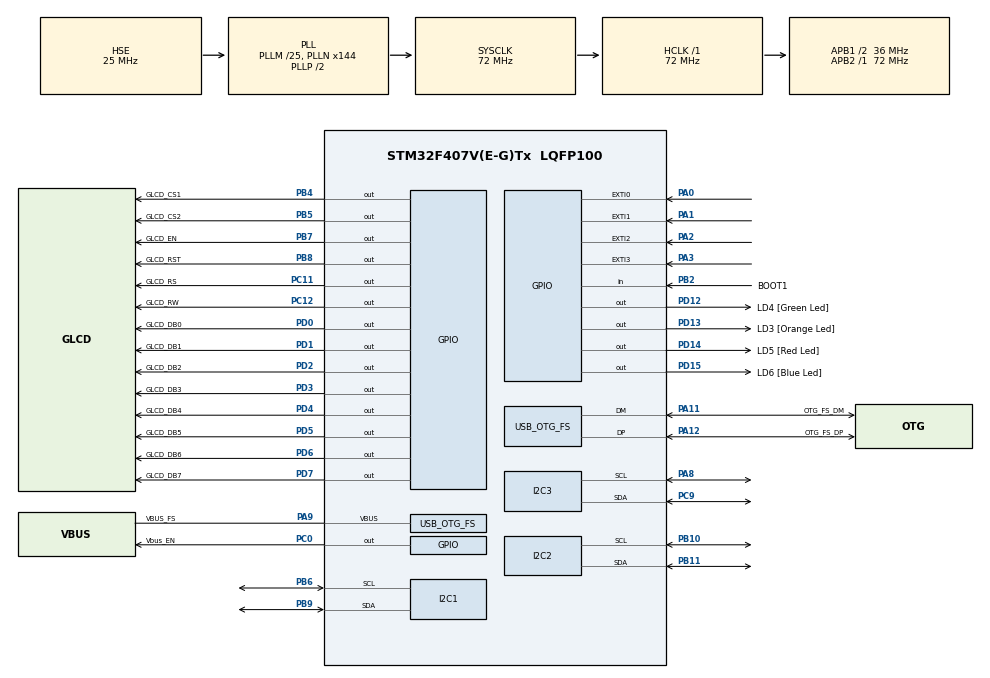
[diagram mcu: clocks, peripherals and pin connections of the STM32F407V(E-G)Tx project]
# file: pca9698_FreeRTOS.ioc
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FREERTOS.INCLUDE_xEventGroupSetBitFromISR=1
FREERTOS.INCLUDE_xQueueGetMutexHolder=0
FREERTOS.INCLUDE_xTaskGetCurrentTaskHandle=1
FREERTOS.Queues01=i2cDataQ,100,PCA9698_data_t,0,Dynamic,NULL,NULL
FREERTOS.Tasks01=defaultTask,24,128,StartDefaultTask,Default,NULL,Dynamic,NULL,NULL;hmi,24,128,HMITask,Default,NULL,Static,glcdDisplayBuffer,glcdDisplayControlBlock;I2CManager,48,256,i2cTask,Default,NULL,Static,I2CManagerBuffer,I2CManagerControlBlock;feeder,24,128,feederTask,Default,NULL,Dynamic,NULL,NULL
I2C1.DutyCycle=I2C_DUTYCYCLE_16_9
I2C1.I2C_Mode=I2C_Fast
I2C2.DutyCycle=I2C_DUTYCYCLE_16_9
I2C2.I2C_Mode=I2C_Fast
I2C3.DutyCycle=I2C_DUTYCYCLE_16_9
I2C3.I2C_Mode=I2C_Fast
Mcu.Family=STM32F4
Mcu.Name=STM32F407V(E-G)Tx
Mcu.Package=LQFP100
Mcu.UserConstants=MAX_SLAVE_COUNT,10;PINS_PER_SLAVE,40
NVIC.EXTI0_IRQn=true\:5\:0\:false\:false\:true\:true\:true\:true
NVIC.EXTI1_IRQn=true\:5\:0\:false\:false\:true\:true\:true\:true
NVIC.EXTI2_IRQn=true\:5\:0\:false\:false\:true\:true\:true\:true
NVIC.EXTI3_IRQn=true\:5\:0\:false\:false\:true\:true\:true\:true
NVIC.I2C1_ER_IRQn=true\:5\:0\:false\:false\:true\:true\:true\:true
NVIC.I2C1_EV_IRQn=true\:5\:0\:false\:false\:true\:true\:true\:true
NVIC.I2C2_ER_IRQn=true\:5\:0\:false\:false\:true\:true\:true\:true
NVIC.I2C2_EV_IRQn=true\:5\:0\:false\:false\:true\:true\:true\:true
NVIC.I2C3_ER_IRQn=true\:5\:0\:false\:false\:true\:true\:true\:true
NVIC.I2C3_EV_IRQn=true\:5\:0\:false\:false\:true\:true\:true\:true
NVIC.OTG_FS_IRQn=true\:5\:0\:false\:false\:true\:true\:true\:true
NVIC.PriorityGroup=NVIC_PRIORITYGROUP_4
NVIC.TIM6_DAC_IRQn=true\:0\:0\:false\:false\:true\:false\:false\:true
NVIC.TimeBase=TIM6_DAC_IRQn
NVIC.TimeBaseIP=TIM6
PA0-WKUP.Signal=GPXTI0
PA1.Signal=GPXTI1
PA11.GPIO_Label=OTG_FS_DM
PA11.GPIO_Mode=GPIO_MODE_AF_PP
PA11.GPIO_PuPd=GPIO_NOPULL
PA11.GPIO_Speed=GPIO_SPEED_FREQ_LOW
PA11.Mode=Host_Only
PA11.Signal=USB_OTG_FS_DM
PA12.GPIO_Label=OTG_FS_DP
PA12.GPIO_Mode=GPIO_MODE_AF_PP
PA12.GPIO_PuPd=GPIO_NOPULL
PA12.GPIO_Speed=GPIO_SPEED_FREQ_LOW
PA12.Mode=Host_Only
PA12.Signal=USB_OTG_FS_DP
PA13.GPIO_Label=SWDIO
PA13.Mode=Trace_Asynchronous_SW
PA13.Signal=SYS_JTMS-SWDIO
PA14.GPIO_Label=SWCLK
PA14.Mode=Trace_Asynchronous_SW
PA14.Signal=SYS_JTCK-SWCLK
PA2.Signal=GPXTI2
PA3.Signal=GPXTI3
PA8.Mode=I2C
PA8.Signal=I2C3_SCL
PA9.GPIO_Label=VBUS_FS
PA9.GPIO_Mode=GPIO_MODE_INPUT
PA9.GPIO_PuPd=GPIO_NOPULL
PA9.Mode=Activate_VBUS
PA9.Signal=USB_OTG_FS_VBUS
PB10.Mode=I2C
PB10.Signal=I2C2_SCL
PB11.Mode=I2C
PB11.Signal=I2C2_SDA
PB2.GPIO_Label=BOOT1
PB2.GPIO_Mode=GPIO_MODE_INPUT
PB2.GPIO_PuPd=GPIO_NOPULL
PB2.Signal=GPIO_Input
PB3.Mode=Trace_Asynchronous_SW
PB3.Signal=SYS_JTDO-SWO
PB4.GPIO_Label=GLCD_CS1
PB4.Signal=GPIO_Output
PB5.GPIO_Label=GLCD_CS2
PB5.Signal=GPIO_Output
PB6.GPIO_Mode=GPIO_MODE_AF_OD
PB6.GPIO_PuPd=GPIO_NOPULL
PB6.GPIO_Speed=GPIO_SPEED_FREQ_VERY_HIGH
PB6.Mode=I2C
PB6.Signal=I2C1_SCL
PB7.GPIO_Label=GLCD_EN
PB7.Signal=GPIO_Output
PB8.GPIO_Label=GLCD_RST
PB8.Signal=GPIO_Output
PB9.GPIO_Mode=GPIO_MODE_AF_OD
PB9.GPIO_PuPd=GPIO_NOPULL
PB9.GPIO_Speed=GPIO_SPEED_FREQ_VERY_HIGH
PB9.Mode=I2C
PB9.Signal=I2C1_SDA
PC0.GPIO_Label=Vbus_EN
PC0.Signal=GPIO_Output
PC11.GPIO_Label=GLCD_RS
PC11.Signal=GPIO_Output
PC12.GPIO_Label=GLCD_RW
PC12.Signal=GPIO_Output
PC14-OSC32_IN.GPIO_Label=PC14-OSC32_IN
PC14-OSC32_IN.Mode=LSE-External-Oscillator
PC14-OSC32_IN.Signal=RCC_OSC32_IN
PC15-OSC32_OUT.GPIO_Label=PC15-OSC32_OUT
PC15-OSC32_OUT.Mode=LSE-External-Oscillator
PC15-OSC32_OUT.Signal=RCC_OSC32_OUT
PC9.Mode=I2C
PC9.Signal=I2C3_SDA
PD0.GPIO_Label=GLCD_DB0
PD0.Signal=GPIO_Output
PD1.GPIO_Label=GLCD_DB1
PD1.Signal=GPIO_Output
PD12.GPIO_Label=LD4 [Green Led]
PD12.GPIO_PuPd=GPIO_NOPULL
PD12.GPIO_Speed=GPIO_SPEED_FREQ_LOW
PD12.Signal=GPIO_Output
PD13.GPIO_Label=LD3 [Orange Led]
PD13.GPIO_PuPd=GPIO_NOPULL
PD13.GPIO_Speed=GPIO_SPEED_FREQ_LOW
PD13.Signal=GPIO_Output
PD14.GPIO_Label=LD5 [Red Led]
PD14.GPIO_PuPd=GPIO_NOPULL
PD14.GPIO_Speed=GPIO_SPEED_FREQ_LOW
PD14.Signal=GPIO_Output
PD15.GPIO_Label=LD6 [Blue Led]
PD15.GPIO_PuPd=GPIO_NOPULL
PD15.GPIO_Speed=GPIO_SPEED_FREQ_LOW
PD15.Signal=GPIO_Output
PD2.GPIO_Label=GLCD_DB2
PD2.Signal=GPIO_Output
PD3.GPIO_Label=GLCD_DB3
PD3.Signal=GPIO_Output
PD4.GPIO_Label=GLCD_DB4
PD4.Signal=GPIO_Output
PD5.GPIO_Label=GLCD_DB5
PD5.Signal=GPIO_Output
PD6.GPIO_Label=GLCD_DB6
PD6.Signal=GPIO_Output
PD7.GPIO_Label=GLCD_DB7
PD7.Signal=GPIO_Output
PH0-OSC_IN.GPIO_Label=PH0-OSC_IN
PH0-OSC_IN.Mode=HSE-External-Oscillator
PH0-OSC_IN.Signal=RCC_OSC_IN
PH1-OSC_OUT.GPIO_Label=PH1-OSC_OUT
PH1-OSC_OUT.Mode=HSE-External-Oscillator
PH1-OSC_OUT.Signal=RCC_OSC_OUT
ProjectManager.HeapSize=0x400
ProjectManager.StackSize=0x800
ProjectManager.TargetToolchain=STM32CubeIDE
RCC.48MHZClocksFreq_Value=48000000
RCC.AHBFreq_Value=72000000
RCC.APB1CLKDivider=RCC_HCLK_DIV2
RCC.APB1Freq_Value=36000000
RCC.APB1TimFreq_Value=72000000
RCC.APB2Freq_Value=72000000
RCC.APB2TimFreq_Value=72000000
RCC.CortexFreq_Value=72000000
RCC.HCLKFreq_Value=72000000
RCC.HSE_VALUE=25000000
RCC.HSI_VALUE=16000000
RCC.PLLM=25
RCC.PLLN=144
RCC.PLLQ=3
RCC.SYSCLKFreq_VALUE=72000000
RCC.SYSCLKSource=RCC_SYSCLKSOURCE_PLLCLK
RCC.VCOOutputFreq_Value=144000000
USB_HOST.BSP.number=1
USB_HOST.USBH_HandleTypeDef-MSC_FS=hUsbHostFS
USB_HOST.VirtualModeFS=Msc
USB_HOST0.BSP.STBoard=false
USB_HOST0.BSP.api=Unknown
USB_HOST0.BSP.i2caddr=0
USB_HOST0.BSP.instance=PC0
USB_HOST0.BSP.ip=GPIO
USB_HOST0.BSP.mode=Output
USB_HOST0.BSP.name=Drive_VBUS_FS
USB_HOST0.BSP.solution=PC0
USB_OTG_FS.VirtualMode=Host_Only
USB_OTG_FS.phy_itface=HCD_PHY_EMBEDDED
VP_FATFS_VS_USB.Mode=USB
VP_FREERTOS_VS_CMSIS_V2.Mode=CMSIS_V2
VP_RNG_VS_RNG.Mode=RNG_Activate
VP_SYS_VS_tim6.Mode=TIM6
VP_USB_HOST_VS_USB_HOST_MSC_FS.Mode=MSC_FS
board=STM32F407G-DISC1

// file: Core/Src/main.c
/* USER CODE BEGIN Header */
/**
  ******************************************************************************
  * @file           : main.c
  * @brief          : Main program body
  ******************************************************************************
  * @attention
  *
  * <h2><center>&copy; Copyright (c) 2021 STMicroelectronics.
  * All rights reserved.</center></h2>
  *
  * This software component is licensed by ST under Ultimate Liberty license
  * SLA0044, the "License"; You may not use this file except in compliance with
  * the License. You may obtain a copy of the License at:
  *                             www.st.com/SLA0044
  *
  ******************************************************************************
  */
/* USER CODE END Header */
#include "main.h"
#include "cmsis_os.h"
#include "fatfs.h"
#include "usb_host.h"

/* USER CODE BEGIN Includes */
#include "pca9698.h"
#include "jhd12864e.h"
/* USER CODE END Includes */

typedef StaticTask_t osStaticThreadDef_t;
/* USER CODE BEGIN PTD */

typedef struct {
	uint16_t pinsRequired;
	uint16_t itersRequired;
} configPacket_t;

typedef enum {
	up_button = 0x00,
	down_button = 0x01,
	select_button = 0x02,
	usb_mount = 0x03,
	usb_unmount = 0x04,
	no_button = 0xFF
} hmi_state;

/* USER CODE END PTD */

I2C_HandleTypeDef hi2c1;
I2C_HandleTypeDef hi2c2;
I2C_HandleTypeDef hi2c3;

RNG_HandleTypeDef hrng;

/* Definitions for defaultTask */
osThreadId_t defaultTaskHandle;
const osThreadAttr_t defaultTask_attributes = {
  .name = "defaultTask",
  .priority = (osPriority_t) osPriorityNormal,
  .stack_size = 128 * 4
};
/* Definitions for hmi */
osThreadId_t hmiHandle;
uint32_t glcdDisplayBuffer[ 128 ];
osStaticThreadDef_t glcdDisplayControlBlock;
const osThreadAttr_t hmi_attributes = {
  .name = "hmi",
  .stack_mem = &glcdDisplayBuffer[0],
  .stack_size = sizeof(glcdDisplayBuffer),
  .cb_mem = &glcdDisplayControlBlock,
  .cb_size = sizeof(glcdDisplayControlBlock),
  .priority = (osPriority_t) osPriorityNormal,
};
/* Definitions for I2CManager */
osThreadId_t I2CManagerHandle;
uint32_t I2CManagerBuffer[ 256 ];
osStaticThreadDef_t I2CManagerControlBlock;
const osThreadAttr_t I2CManager_attributes = {
  .name = "I2CManager",
  .stack_mem = &I2CManagerBuffer[0],
  .stack_size = sizeof(I2CManagerBuffer),
  .cb_mem = &I2CManagerControlBlock,
  .cb_size = sizeof(I2CManagerControlBlock),
  .priority = (osPriority_t) osPriorityRealtime,
};
/* Definitions for feeder */
osThreadId_t feederHandle;
const osThreadAttr_t feeder_attributes = {
  .name = "feeder",
  .priority = (osPriority_t) osPriorityNormal,
  .stack_size = 128 * 4
};
/* Definitions for i2cDataQ */
osMessageQueueId_t i2cDataQHandle;
const osMessageQueueAttr_t i2cDataQ_attributes = {
  .name = "i2cDataQ"
};
/* USER CODE BEGIN PV */
extern PCA9698_t *active_line;	//this handle is updated by I2CMasterTxCmpltCallback
								//so that the the i2cTxCpltDeferred task can work
extern GLCD_t glcd_handle;
SemaphoreHandle_t weftSemphr;
EventGroupHandle_t i2cTxEvent;
QueueHandle_t xMailbox;

hmi_state select_flag=no_button;
int filecount;
uint16_t slave_Adresses_line1[2] = { 0x40, 0x42 };
uint16_t slave_Adresses_line2[2] = { 0x40, 0x42 };
uint16_t slave_Adresses_line3[2] = { 0x40, 0x42 };
/* USER CODE END PV */

void SystemClock_Config(void);
static void MX_GPIO_Init(void);
static void MX_I2C1_Init(void);
static void MX_I2C3_Init(void);
static void MX_RNG_Init(void);
static void MX_I2C2_Init(void);
void StartDefaultTask(void *argument);
void HMITask(void *argument);
void i2cTask(void *argument);
void feederTask(void *argument);

/* USER CODE BEGIN PFP */
//void feederTask(void *argument);
/* USER CODE END PFP */

int main(void)
{

  /* MCU Configuration--------------------------------------------------------*/

  /* Reset of all peripherals, Initializes the Flash interface and the Systick. */
  HAL_Init();

  /* Configure the system clock */
  SystemClock_Config();

  /* Initialize all configured peripherals */
  MX_GPIO_Init();
  MX_I2C1_Init();
  MX_I2C3_Init();
  MX_RNG_Init();
  MX_I2C2_Init();
  MX_FATFS_Init();

  /* Init scheduler */
  osKernelInitialize();

  /* USER CODE BEGIN RTOS_SEMAPHORES */
  /* add semaphores, ... */
  weftSemphr = xSemaphoreCreateBinary();
  /* USER CODE END RTOS_SEMAPHORES */

  /* Create the queue(s) */
  /* creation of i2cDataQ */
  i2cDataQHandle = osMessageQueueNew (100, sizeof(PCA9698_data_t), &i2cDataQ_attributes);

  /* USER CODE BEGIN RTOS_QUEUES */
  /* add queues, ... */
  xMailbox = xQueueCreate(1, sizeof(configPacket_t));
  /* USER CODE END RTOS_QUEUES */

  /* Create the thread(s) */
  /* creation of defaultTask */
  defaultTaskHandle = osThreadNew(StartDefaultTask, NULL, &defaultTask_attributes);

  /* creation of hmi */
  hmiHandle = osThreadNew(HMITask, NULL, &hmi_attributes);

  /* creation of I2CManager */
  I2CManagerHandle = osThreadNew(i2cTask, NULL, &I2CManager_attributes);

  /* creation of feeder */
  feederHandle = osThreadNew(feederTask, NULL, &feeder_attributes);

  /* USER CODE BEGIN RTOS_EVENTS */
  /* add events, ... */
  i2cTxEvent = xEventGroupCreate();
  /* USER CODE END RTOS_EVENTS */

  /* Start scheduler */
  osKernelStart();

  /* We should never get here as control is now taken by the scheduler */
  /* Infinite loop */
  while (1)
  {

  }
}

void SystemClock_Config(void)
{
  RCC_OscInitTypeDef RCC_OscInitStruct = {0};
  RCC_ClkInitTypeDef RCC_ClkInitStruct = {0};

  /** Configure the main internal regulator output voltage
  */
  __HAL_RCC_PWR_CLK_ENABLE();
  __HAL_PWR_VOLTAGESCALING_CONFIG(PWR_REGULATOR_VOLTAGE_SCALE1);
  /** Initializes the RCC Oscillators according to the specified parameters
  * in the RCC_OscInitTypeDef structure.
  */
  RCC_OscInitStruct.OscillatorType = RCC_OSCILLATORTYPE_HSE;
  RCC_OscInitStruct.HSEState = RCC_HSE_ON;
  RCC_OscInitStruct.PLL.PLLState = RCC_PLL_ON;
  RCC_OscInitStruct.PLL.PLLSource = RCC_PLLSOURCE_HSE;
  RCC_OscInitStruct.PLL.PLLM = 25;
  RCC_OscInitStruct.PLL.PLLN = 144;
  RCC_OscInitStruct.PLL.PLLP = RCC_PLLP_DIV2;
  RCC_OscInitStruct.PLL.PLLQ = 3;
  if (HAL_RCC_OscConfig(&RCC_OscInitStruct) != HAL_OK)
  {
    Error_Handler();
  }
  /** Initializes the CPU, AHB and APB buses clocks
  */
  RCC_ClkInitStruct.ClockType = RCC_CLOCKTYPE_HCLK|RCC_CLOCKTYPE_SYSCLK
                              |RCC_CLOCKTYPE_PCLK1|RCC_CLOCKTYPE_PCLK2;
  RCC_ClkInitStruct.SYSCLKSource = RCC_SYSCLKSOURCE_PLLCLK;
  RCC_ClkInitStruct.AHBCLKDivider = RCC_SYSCLK_DIV1;
  RCC_ClkInitStruct.APB1CLKDivider = RCC_HCLK_DIV2;
  RCC_ClkInitStruct.APB2CLKDivider = RCC_HCLK_DIV1;

  if (HAL_RCC_ClockConfig(&RCC_ClkInitStruct, FLASH_LATENCY_2) != HAL_OK)
  {
    Error_Handler();
  }
}

static void MX_I2C1_Init(void)
{

  hi2c1.Instance = I2C1;
  hi2c1.Init.ClockSpeed = 400000;
  hi2c1.Init.DutyCycle = I2C_DUTYCYCLE_16_9;
  hi2c1.Init.OwnAddress1 = 0;
  hi2c1.Init.AddressingMode = I2C_ADDRESSINGMODE_7BIT;
  hi2c1.Init.DualAddressMode = I2C_DUALADDRESS_DISABLE;
  hi2c1.Init.OwnAddress2 = 0;
  hi2c1.Init.GeneralCallMode = I2C_GENERALCALL_DISABLE;
  hi2c1.Init.NoStretchMode = I2C_NOSTRETCH_DISABLE;
  if (HAL_I2C_Init(&hi2c1) != HAL_OK)
  {
    Error_Handler();
  }

}

static void MX_I2C2_Init(void)
{

  hi2c2.Instance = I2C2;
  hi2c2.Init.ClockSpeed = 400000;
  hi2c2.Init.DutyCycle = I2C_DUTYCYCLE_16_9;
  hi2c2.Init.OwnAddress1 = 0;
  hi2c2.Init.AddressingMode = I2C_ADDRESSINGMODE_7BIT;
  hi2c2.Init.DualAddressMode = I2C_DUALADDRESS_DISABLE;
  hi2c2.Init.OwnAddress2 = 0;
  hi2c2.Init.GeneralCallMode = I2C_GENERALCALL_DISABLE;
  hi2c2.Init.NoStretchMode = I2C_NOSTRETCH_DISABLE;
  if (HAL_I2C_Init(&hi2c2) != HAL_OK)
  {
    Error_Handler();
  }

}

static void MX_I2C3_Init(void)
{

  hi2c3.Instance = I2C3;
  hi2c3.Init.ClockSpeed = 400000;
  hi2c3.Init.DutyCycle = I2C_DUTYCYCLE_16_9;
  hi2c3.Init.OwnAddress1 = 0;
  hi2c3.Init.AddressingMode = I2C_ADDRESSINGMODE_7BIT;
  hi2c3.Init.DualAddressMode = I2C_DUALADDRESS_DISABLE;
  hi2c3.Init.OwnAddress2 = 0;
  hi2c3.Init.GeneralCallMode = I2C_GENERALCALL_DISABLE;
  hi2c3.Init.NoStretchMode = I2C_NOSTRETCH_DISABLE;
  if (HAL_I2C_Init(&hi2c3) != HAL_OK)
  {
    Error_Handler();
  }

}

static void MX_RNG_Init(void)
{

  hrng.Instance = RNG;
  if (HAL_RNG_Init(&hrng) != HAL_OK)
  {
    Error_Handler();
  }

}

static void MX_GPIO_Init(void)
{
  GPIO_InitTypeDef GPIO_InitStruct = {0};

  /* GPIO Ports Clock Enable */
  __HAL_RCC_GPIOC_CLK_ENABLE();
  __HAL_RCC_GPIOH_CLK_ENABLE();
  __HAL_RCC_GPIOA_CLK_ENABLE();
  __HAL_RCC_GPIOB_CLK_ENABLE();
  __HAL_RCC_GPIOD_CLK_ENABLE();

  /*Configure GPIO pin Output Level */
  HAL_GPIO_WritePin(GPIOC, Vbus_EN_Pin|GLCD_RS_Pin|GLCD_RW_Pin, GPIO_PIN_RESET);

  /*Configure GPIO pin Output Level */
  HAL_GPIO_WritePin(GPIOD, LD4_Pin|LD3_Pin|LD5_Pin|LD6_Pin
                          |GLCD_DB0_Pin|GLCD_DB1_Pin|GLCD_DB2_Pin|GLCD_DB3_Pin
                          |GLCD_DB4_Pin|GLCD_DB5_Pin|GLCD_DB6_Pin|GLCD_DB7_Pin, GPIO_PIN_RESET);

  /*Configure GPIO pin Output Level */
  HAL_GPIO_WritePin(GPIOB, GLCD_CS1_Pin|GLCD_CS2_Pin|GLCD_EN_Pin|GLCD_RST_Pin, GPIO_PIN_RESET);

  /*Configure GPIO pins : Vbus_EN_Pin GLCD_RS_Pin GLCD_RW_Pin */
  GPIO_InitStruct.Pin = Vbus_EN_Pin|GLCD_RS_Pin|GLCD_RW_Pin;
  GPIO_InitStruct.Mode = GPIO_MODE_OUTPUT_PP;
  GPIO_InitStruct.Pull = GPIO_NOPULL;
  GPIO_InitStruct.Speed = GPIO_SPEED_FREQ_LOW;
  HAL_GPIO_Init(GPIOC, &GPIO_InitStruct);

  /*Configure GPIO pins : PA0 PA1 PA2 PA3 */
  GPIO_InitStruct.Pin = GPIO_PIN_0|GPIO_PIN_1|GPIO_PIN_2|GPIO_PIN_3;
  GPIO_InitStruct.Mode = GPIO_MODE_IT_RISING;
  GPIO_InitStruct.Pull = GPIO_NOPULL;
  HAL_GPIO_Init(GPIOA, &GPIO_InitStruct);

  /*Configure GPIO pin : BOOT1_Pin */
  GPIO_InitStruct.Pin = BOOT1_Pin;
  GPIO_InitStruct.Mode = GPIO_MODE_INPUT;
  GPIO_InitStruct.Pull = GPIO_NOPULL;
  HAL_GPIO_Init(BOOT1_GPIO_Port, &GPIO_InitStruct);

  /*Configure GPIO pins : LD4_Pin LD3_Pin LD5_Pin LD6_Pin
                           GLCD_DB0_Pin GLCD_DB1_Pin GLCD_DB2_Pin GLCD_DB3_Pin
                           GLCD_DB4_Pin GLCD_DB5_Pin GLCD_DB6_Pin GLCD_DB7_Pin */
  GPIO_InitStruct.Pin = LD4_Pin|LD3_Pin|LD5_Pin|LD6_Pin
                          |GLCD_DB0_Pin|GLCD_DB1_Pin|GLCD_DB2_Pin|GLCD_DB3_Pin
                          |GLCD_DB4_Pin|GLCD_DB5_Pin|GLCD_DB6_Pin|GLCD_DB7_Pin;
  GPIO_InitStruct.Mode = GPIO_MODE_OUTPUT_PP;
  GPIO_InitStruct.Pull = GPIO_NOPULL;
  GPIO_InitStruct.Speed = GPIO_SPEED_FREQ_LOW;
  HAL_GPIO_Init(GPIOD, &GPIO_InitStruct);

  /*Configure GPIO pins : GLCD_CS1_Pin GLCD_CS2_Pin GLCD_EN_Pin GLCD_RST_Pin */
  GPIO_InitStruct.Pin = GLCD_CS1_Pin|GLCD_CS2_Pin|GLCD_EN_Pin|GLCD_RST_Pin;
  GPIO_InitStruct.Mode = GPIO_MODE_OUTPUT_PP;
  GPIO_InitStruct.Pull = GPIO_NOPULL;
  GPIO_InitStruct.Speed = GPIO_SPEED_FREQ_LOW;
  HAL_GPIO_Init(GPIOB, &GPIO_InitStruct);

  /* EXTI interrupt init*/
  HAL_NVIC_SetPriority(EXTI0_IRQn, 5, 0);
  HAL_NVIC_EnableIRQ(EXTI0_IRQn);

  HAL_NVIC_SetPriority(EXTI1_IRQn, 5, 0);
  HAL_NVIC_EnableIRQ(EXTI1_IRQn);

  HAL_NVIC_SetPriority(EXTI2_IRQn, 5, 0);
  HAL_NVIC_EnableIRQ(EXTI2_IRQn);

  HAL_NVIC_SetPriority(EXTI3_IRQn, 5, 0);
  HAL_NVIC_EnableIRQ(EXTI3_IRQn);

}

void StartDefaultTask(void *argument)
{
  /* init code for USB_HOST */
  MX_USB_HOST_Init();
  /* USER CODE BEGIN 5 */
  /* Infinite loop */
  for(;;)
  {
	  /* send data packets to the i2cQ continuously */

  }
  /* USER CODE END 5 */
}

void HMITask(void *argument)
{
  /* USER CODE BEGIN HMITask */
  /* Infinite loop */
  for(;;)
  {
	ulTaskNotifyTake(pdTRUE, portMAX_DELAY);
	switch(select_flag)
	{
		case down_button:
			if(glcd_handle.cursor_pos<=glcd_handle.cursor_max)
				GLCD_Cursor_update(incr);
			else//update new content
				;//refresh the content of the display filenames by reading from usb;
			select_flag=no_button;
			break;

		case up_button:
			if(glcd_handle.cursor_pos>=glcd_handle.cursor_min)
				GLCD_Cursor_update(decr);
			else//update new content
				;//refresh the content of the display filenames by reading from usb;
			select_flag=no_button;
			break;

		case select_button:
			GLCD_Clear_All();
			GLCD_printLine(1, glcd_handle.text_buf);
			GLCD_printLine(2, "Selected");
			select_flag=no_button;
			break;

		default:
			break;
	}
  }
  /* USER CODE END HMITask */
}

void i2cTask(void *argument)
{
  /* USER CODE BEGIN i2cTask */
	I2C_HandleTypeDef *hi2cx[] = {&hi2c1, &hi2c2, &hi2c3};
	uint16_t *slave_adresses[] = {slave_Adresses_line1, slave_Adresses_line2, slave_Adresses_line3};
	const uint16_t maxPins = MAX_SLAVE_COUNT * PINS_PER_SLAVE;	//max no. of pins in 1 line
	uint16_t pinCount = 0, iter = 0;	//updated by mailbox parameters
	uint8_t activeSlaveCnt[3];	// the number of slaves active in the line (<=MAX_SLAVE_COUNT)
	uint8_t lineIndex = 0, linesActivated = 0;
	PCA9698_MultiRegBank *dataBasePointer[3];	//stores the i2c buffer addresses of different i2c lines
	for(;lineIndex<3;lineIndex++)
		dataBasePointer[lineIndex] = (PCA9698_MultiRegBank*) pvPortMalloc(sizeof(PCA9698_MultiRegBank)*MAX_SLAVE_COUNT);
	lineIndex = 0;

  /* Infinite loop */
  for(;;)
  {
	  if(iter==0)	//signifies weaving job complete
	  {
		  // 1. readMailbox --> wait for new weaving job parameters
		  configPacket_t params;
		  xQueueReceive(xMailbox, &params, portMAX_DELAY);
		  pinCount = params.pinsRequired;
		  iter = params.itersRequired;

		  // 2. reconfigure i2c line parameters
		  while(pinCount > 0)
		  {
			  if(pinCount >= maxPins)	//if-else block calculates the number of slaves required per line
			  {
				  activeSlaveCnt[lineIndex] = MAX_SLAVE_COUNT;
				  pinCount -= maxPins;
			  }
			  else
			  {
				  activeSlaveCnt[lineIndex] = ((pinCount % maxPins)/PINS_PER_SLAVE) + 1;
				  pinCount = 0;
			  }
			  PCA9698_Adv_Init(hi2cx[lineIndex], slave_adresses[lineIndex],
					  activeSlaveCnt[lineIndex], (uint8_t*)dataBasePointer[lineIndex]);
			  lineIndex++;
		  }
		  linesActivated = lineIndex; lineIndex = 0;
	  }

	  /* Fill/Re-fill the parallel i2c Buffers */
	  if(xEventGroupWaitBits(i2cTxEvent, 0x07, 0x07, pdTRUE, pdMS_TO_TICKS(2000)))
	  {
		  while(lineIndex <= linesActivated) //this loop makes sure data is read serially by different i2c buffers
		  {
			  PCA9698_MultiRegBank *dataBuffer = dataBasePointer[lineIndex];
			  for(uint8_t index = 0; index<activeSlaveCnt[lineIndex]; index++)
			  {
				  //write the command byte to the slave packet
				  dataBuffer->cmd = PCA9698_CMD_OP | PCA9698_CMD_AI_MSK;

				  //get the data from the dataQ
				  while(osMessageQueueGet(i2cDataQHandle, &(dataBuffer->fullData), NULL, 0) != osOK)
					  osDelay(1);	// block for a small time to allow feeder task to feed the packets to the Q
			  }
			  lineIndex++;
		  }
		  lineIndex = 0; //reset index
	  }
	  else
	  {
		  //previous i2c transmission faced some error?
	  }

	  xSemaphoreTake(weftSemphr, portMAX_DELAY); //--> wait for external button interrupt trigger
	  //task notification possible?
	  while(lineIndex <= linesActivated)
	  {
		  PCA9698_LineX_Write_Start(lineIndex);
		  lineIndex++;
	  }
	  lineIndex=0;
	  iter--;
  }
  /* USER CODE END i2cTask */
}

void feederTask(void *argument)
{
  /* USER CODE BEGIN feederTask */
	PCA9698_data_t dataBuffer;
	uint16_t iter = 0, config_done = 0, pkt_cnt = 0;
	UINT br = 0;
	configPacket_t params;
  /* Infinite loop */
  for(;;)
  {
	  	ulTaskNotifyTake(pdTRUE, portMAX_DELAY);	//wait for task notification from HMI task
		f_read(&USBHFile, &(params), sizeof(params), &br);	//read 4 by: 2by for l & b each
		iter = params.itersRequired;
		pkt_cnt = (params.pinsRequired/PINS_PER_SLAVE);
		if(params.pinsRequired % PINS_PER_SLAVE)
			pkt_cnt++;

		while(iter != 0)
		{
			for(int i=0; i<pkt_cnt; i++)
			{
				if(config_done == 0)
				{
					config_done = 1;
					while(xQueueSendToBack(xMailbox, &params, 100) != pdPASS);
				}
				memset(&dataBuffer, 0, sizeof(dataBuffer));
				f_read(&USBHFile, &dataBuffer, sizeof(dataBuffer), &br); /* -- try to read 5 bytes at a time until EOF -- */
				while((osMessageQueuePut(i2cDataQHandle, &dataBuffer, 1, 10)) != osOK);
			}

			iter--;
		}
		config_done = 0;
  }
  /* USER CODE END feederTask */
}

 /**
  * @brief  Period elapsed callback in non blocking mode
  * @note   This function is called  when TIM6 interrupt took place, inside
  * HAL_TIM_IRQHandler(). It makes a direct call to HAL_IncTick() to increment
  * a global variable "uwTick" used as application time base.
  * @param  htim : TIM handle
  * @retval None
  */
void HAL_TIM_PeriodElapsedCallback(TIM_HandleTypeDef *htim)
{
  if (htim->Instance == TIM6) {
    HAL_IncTick();
  }
}

void Error_Handler(void)
{
  __disable_irq();
  while (1)
  {
  }
}

/************************ (C) COPYRIGHT STMicroelectronics *****END OF FILE****/
